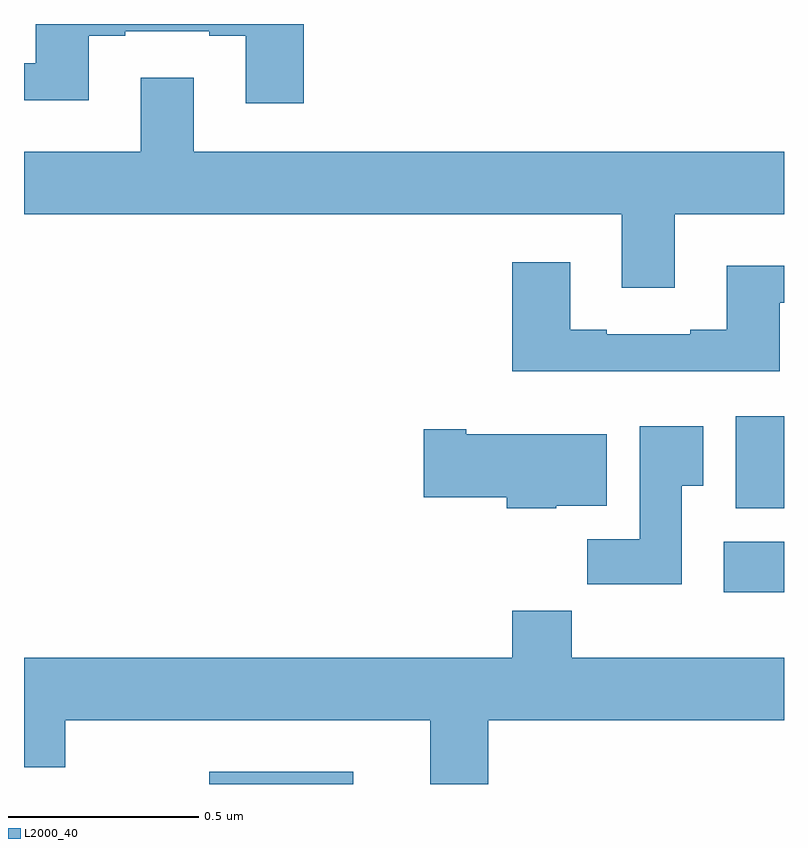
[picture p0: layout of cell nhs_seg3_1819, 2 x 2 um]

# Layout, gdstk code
import gdstk
lib = gdstk.Library(unit=1e-6, precision=1e-09)
def R(c, l, rs):  # rectangles x0, y0, x1, y1
    for r in rs: c.add(gdstk.rectangle(r[:2], r[2:], *l))
def P(c, l, *ps):  # polygons
    for p in ps: c.add(gdstk.Polygon(p, *l))
L2000_40 = (2000, 40)

nhs_seg3_1819 = lib.new_cell('nhs_seg3_1819')
R(nhs_seg3_1819, L2000_40, [(133.487,715.4,133.867,715.432), (134.841,715.904,135,716.038), (134.873,716.126,135,716.368)])
P(nhs_seg3_1819, L2000_40, [(133.736,717.4),(133.031,717.4),(133.031,717.297),(133,717.297),(133,717.2),(133.171,717.2),(133.171,717.369),(133.267,717.369),(133.267,717.381),(133.487,717.381),(133.487,717.369),(133.583,717.369),(133.583,717.192),(133.736,717.192)],
  [(134.713,716.9),(135,716.9),(135,717.064),(133.447,717.064),(133.447,717.259),(133.307,717.259),(133.307,717.064),(133,717.064),(133,716.9),(134.573,716.9),(134.573,716.706),(134.713,716.706)],
  [(134.989,716.667),(135,716.667),(135,716.764),(134.849,716.764),(134.849,716.596),(134.753,716.596),(134.753,716.583),(134.533,716.583),(134.533,716.596),(134.437,716.596),(134.437,716.773),(134.285,716.773),(134.285,716.486),(134.989,716.486)],
  [(134.731,716.185),(134.788,716.185),(134.788,716.341),(134.621,716.341),(134.621,716.044),(134.482,716.044),(134.482,715.926),(134.731,715.926)],
  [(134.4,716.132),(134.533,716.132),(134.533,716.32),(134.164,716.32),(134.164,716.333),(134.052,716.333),(134.052,716.155),(134.27,716.155),(134.27,716.126),(134.4,716.126)],
  [(134.222,715.568),(135,715.568),(135,715.732),(134.441,715.732),(134.441,715.856),(134.285,715.856),(134.285,715.732),(133,715.732),(133,715.444),(133.109,715.444),(133.109,715.568),(134.069,715.568),(134.069,715.4),(134.222,715.4)])

lib.write_gds('nhs_seg3_1819.gds')
